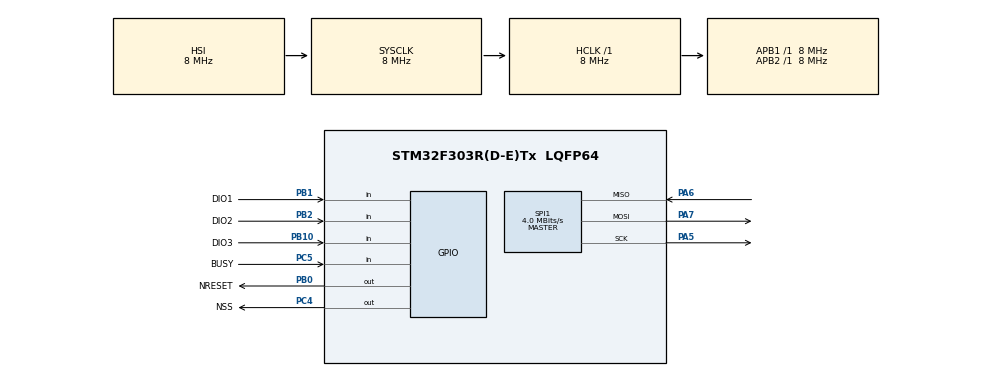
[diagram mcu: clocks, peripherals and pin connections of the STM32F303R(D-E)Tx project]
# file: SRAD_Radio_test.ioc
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Mcu.Family=STM32F3
PA6.Mode=Full_Duplex_Master
RCC.CortexFreq_Value=8000000
PA7.Mode=Full_Duplex_Master
SPI1.VirtualType=VM_MASTER
PC4.Signal=GPIO_Output
PB0.GPIO_Label=NRESET
ProjectManager.StackSize=0x400
ProjectManager.TargetToolchain=EWARM V8.32
PB10.GPIO_Label=DIO3
SPI1.Direction=SPI_DIRECTION_2LINES
SPI1.CalculateBaudRate=4.0 MBits/s
RCC.USBFreq_Value=16000000
RCC.LSE_VALUE=32768
RCC.AHBFreq_Value=8000000
PB10.Signal=GPIO_Input
PA5.Signal=SPI1_SCK
RCC.HSE_VALUE=8000000
PB2.Signal=GPIO_Input
board=custom
RCC.APB2Freq_Value=8000000
PC4.GPIO_Label=NSS
SPI1.Mode=SPI_MODE_MASTER
PB1.GPIO_Label=DIO1
SPI1.DataSize=SPI_DATASIZE_8BIT
Mcu.Name=STM32F303R(D-E)Tx
RCC.SYSCLKFreq_VALUE=8000000
Mcu.Package=LQFP64
PA6.Signal=SPI1_MISO
PB1.Signal=GPIO_Input
PC5.GPIO_Label=BUSY
PB2.GPIO_Label=DIO2
ProjectManager.HeapSize=0x200
RCC.HSI_VALUE=8000000
NVIC.PriorityGroup=NVIC_PRIORITYGROUP_4
PC5.Signal=GPIO_Input
RCC.APB1Freq_Value=8000000
PB0.Signal=GPIO_Output
PA5.Mode=Full_Duplex_Master
PA7.Signal=SPI1_MOSI

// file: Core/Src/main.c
/* USER CODE BEGIN Header */
/**
  ******************************************************************************
  * @file           : main.c
  * @brief          : Main program body
  ******************************************************************************
  * @attention
  *
  * <h2><center>&copy; Copyright (c) 2021 STMicroelectronics.
  * All rights reserved.</center></h2>
  *
  * This software component is licensed by ST under BSD 3-Clause license,
  * the "License"; You may not use this file except in compliance with the
  * License. You may obtain a copy of the License at:
  *                        opensource.org/licenses/BSD-3-Clause
  *
  ******************************************************************************
  */
/* USER CODE END Header */
#include "main.h"

SPI_HandleTypeDef hspi1;

void SystemClock_Config(void);
static void MX_GPIO_Init(void);
static void MX_SPI1_Init(void);

/* USER CODE BEGIN 0 */
void transmitStatus(HAL_StatusTypeDef status){
  if(status == HAL_OK){
    HAL_UART_Transmit(&huart3, (uint8_t*)"Status: HAL_OK\n", 15, 100);
  } else if(status == HAL_ERROR){
    HAL_UART_Transmit(&huart3, (uint8_t*)"Status: HAL_ERROR\n", 18, 100);
  } else if(status == HAL_BUSY){
    HAL_UART_Transmit(&huart3, (uint8_t*)"Status: HAL_BUSY\n", 17, 100);
  } else if(status == HAL_TIMEOUT){
    HAL_UART_Transmit(&huart3, (uint8_t*)"Status: HAL_TIMEOUT\n", 20, 100);
  } else {
    HAL_UART_Transmit(&huart3, (uint8_t*)"Status: Unknown status Received\n", 32, 100);
  }
}

void transmitBuffer(char buffer[]){
  uint8_t length = 0;
  while(buffer[length] != 0){
    length++;
  }
  HAL_UART_Transmit(&huart3, (uint8_t*)buffer, length, 100);
}

HAL_StatusTypeDef writeCommand(uint8_t opcode, uint8_t params[], uint16_t numOfParams){
  HAL_StatusTypeDef status;
  if(HAL_GPIO_ReadPin(BUSY_GPIO_Port,BUSY_Pin) == GPIO_PIN_RESET){
    HAL_GPIO_WritePin(NSS_GPIO_Port, NSS_Pin, GPIO_PIN_RESET);
    status = HAL_SPI_Transmit(&hspi1, &opcode, 1, 100);
    status = HAL_SPI_Transmit(&hspi1, (uint8_t*)params, numOfParams, 100);
    HAL_GPIO_WritePin(NSS_GPIO_Port, NSS_Pin, GPIO_PIN_SET);
  }
  return status;
}

HAL_StatusTypeDef readCommand(uint8_t opcode, uint8_t buffer[], uint16_t numOfParams){
  HAL_StatusTypeDef status;
  if(HAL_GPIO_ReadPin(BUSY_GPIO_Port, BUSY_Pin) == GPIO_PIN_RESET){
    HAL_GPIO_WritePin(NSS_GPIO_Port, NSS_Pin, GPIO_PIN_RESET);
    status = HAL_SPI_Transmit(&hspi1, &opcode, 1, 100);
    status = HAL_SPI_Receive(&hspi1, (uint8_t*)buffer, numOfParams, 100);
    HAL_GPIO_WritePin(NSS_GPIO_Port, NSS_Pin, GPIO_PIN_SET);
  }
  return status;
}

void TxProtocol(){
  //1. Set to standby mode
  uint8_t opcode = 128; //0x80
  uint8_t params[1] = {0};
  uint16_t numParams = 1;
  HAL_StatusTypeDef status = writeCommand(opcode, params, numParams);

  transmitStatus(status);
}
/* USER CODE END 0 */

int main(void)
{

  /* MCU Configuration--------------------------------------------------------*/

  /* Reset of all peripherals, Initializes the Flash interface and the Systick. */
  HAL_Init();

  /* Configure the system clock */
  SystemClock_Config();

  /* Initialize all configured peripherals */
  MX_GPIO_Init();
  MX_SPI1_Init();

  /* Infinite loop */
  while (1)
  {
    TxProtocol();
    HAL_Delay(500);
  }
}

void SystemClock_Config(void)
{
  RCC_OscInitTypeDef RCC_OscInitStruct = {0};
  RCC_ClkInitTypeDef RCC_ClkInitStruct = {0};

  /** Initializes the RCC Oscillators according to the specified parameters
  * in the RCC_OscInitTypeDef structure.
  */
  RCC_OscInitStruct.OscillatorType = RCC_OSCILLATORTYPE_HSI;
  RCC_OscInitStruct.HSIState = RCC_HSI_ON;
  RCC_OscInitStruct.HSICalibrationValue = RCC_HSICALIBRATION_DEFAULT;
  RCC_OscInitStruct.PLL.PLLState = RCC_PLL_NONE;
  if (HAL_RCC_OscConfig(&RCC_OscInitStruct) != HAL_OK)
  {
    Error_Handler();
  }
  /** Initializes the CPU, AHB and APB buses clocks
  */
  RCC_ClkInitStruct.ClockType = RCC_CLOCKTYPE_HCLK|RCC_CLOCKTYPE_SYSCLK
                              |RCC_CLOCKTYPE_PCLK1|RCC_CLOCKTYPE_PCLK2;
  RCC_ClkInitStruct.SYSCLKSource = RCC_SYSCLKSOURCE_HSI;
  RCC_ClkInitStruct.AHBCLKDivider = RCC_SYSCLK_DIV1;
  RCC_ClkInitStruct.APB1CLKDivider = RCC_HCLK_DIV1;
  RCC_ClkInitStruct.APB2CLKDivider = RCC_HCLK_DIV1;

  if (HAL_RCC_ClockConfig(&RCC_ClkInitStruct, FLASH_LATENCY_0) != HAL_OK)
  {
    Error_Handler();
  }
}

static void MX_SPI1_Init(void)
{

  /* SPI1 parameter configuration*/
  hspi1.Instance = SPI1;
  hspi1.Init.Mode = SPI_MODE_MASTER;
  hspi1.Init.Direction = SPI_DIRECTION_2LINES;
  hspi1.Init.DataSize = SPI_DATASIZE_8BIT;
  hspi1.Init.CLKPolarity = SPI_POLARITY_LOW;
  hspi1.Init.CLKPhase = SPI_PHASE_1EDGE;
  hspi1.Init.NSS = SPI_NSS_SOFT;
  hspi1.Init.BaudRatePrescaler = SPI_BAUDRATEPRESCALER_2;
  hspi1.Init.FirstBit = SPI_FIRSTBIT_MSB;
  hspi1.Init.TIMode = SPI_TIMODE_DISABLE;
  hspi1.Init.CRCCalculation = SPI_CRCCALCULATION_DISABLE;
  hspi1.Init.CRCPolynomial = 7;
  hspi1.Init.CRCLength = SPI_CRC_LENGTH_DATASIZE;
  hspi1.Init.NSSPMode = SPI_NSS_PULSE_ENABLE;
  if (HAL_SPI_Init(&hspi1) != HAL_OK)
  {
    Error_Handler();
  }

}

static void MX_GPIO_Init(void)
{
  GPIO_InitTypeDef GPIO_InitStruct = {0};

  /* GPIO Ports Clock Enable */
  __HAL_RCC_GPIOA_CLK_ENABLE();
  __HAL_RCC_GPIOC_CLK_ENABLE();
  __HAL_RCC_GPIOB_CLK_ENABLE();

  /*Configure GPIO pin Output Level */
  HAL_GPIO_WritePin(NSS_GPIO_Port, NSS_Pin, GPIO_PIN_RESET);

  /*Configure GPIO pin Output Level */
  HAL_GPIO_WritePin(NRESET_GPIO_Port, NRESET_Pin, GPIO_PIN_RESET);

  /*Configure GPIO pin : NSS_Pin */
  GPIO_InitStruct.Pin = NSS_Pin;
  GPIO_InitStruct.Mode = GPIO_MODE_OUTPUT_PP;
  GPIO_InitStruct.Pull = GPIO_NOPULL;
  GPIO_InitStruct.Speed = GPIO_SPEED_FREQ_LOW;
  HAL_GPIO_Init(NSS_GPIO_Port, &GPIO_InitStruct);

  /*Configure GPIO pin : BUSY_Pin */
  GPIO_InitStruct.Pin = BUSY_Pin;
  GPIO_InitStruct.Mode = GPIO_MODE_INPUT;
  GPIO_InitStruct.Pull = GPIO_NOPULL;
  HAL_GPIO_Init(BUSY_GPIO_Port, &GPIO_InitStruct);

  /*Configure GPIO pin : NRESET_Pin */
  GPIO_InitStruct.Pin = NRESET_Pin;
  GPIO_InitStruct.Mode = GPIO_MODE_OUTPUT_PP;
  GPIO_InitStruct.Pull = GPIO_NOPULL;
  GPIO_InitStruct.Speed = GPIO_SPEED_FREQ_LOW;
  HAL_GPIO_Init(NRESET_GPIO_Port, &GPIO_InitStruct);

  /*Configure GPIO pins : DIO1_Pin DIO2_Pin DIO3_Pin */
  GPIO_InitStruct.Pin = DIO1_Pin|DIO2_Pin|DIO3_Pin;
  GPIO_InitStruct.Mode = GPIO_MODE_INPUT;
  GPIO_InitStruct.Pull = GPIO_NOPULL;
  HAL_GPIO_Init(GPIOB, &GPIO_InitStruct);

}

void Error_Handler(void)
{
  __disable_irq();
  while (1)
  {
  }
}

/************************ (C) COPYRIGHT STMicroelectronics *****END OF FILE****/
